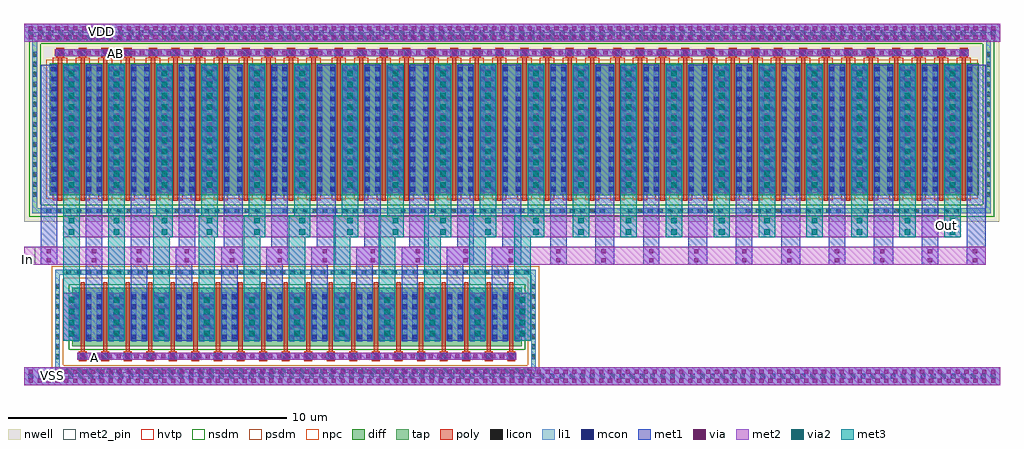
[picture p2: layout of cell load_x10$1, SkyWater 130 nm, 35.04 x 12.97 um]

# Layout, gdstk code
from math import pi, radians
import gdstk
lib = gdstk.Library(unit=1e-6, precision=1e-09)
def R(c, l, rs):  # rectangles x0, y0, x1, y1
    for r in rs: c.add(gdstk.rectangle(r[:2], r[2:], *l))
def A(c, l, x, y, w, h, nx, ny, dx, dy):  # array of equal rectangles
    R(c, l, [(x+i*dx, y+j*dy, x+i*dx+w, y+j*dy+h) for i in range(nx) for j in range(ny)])
nwell = (64, 20)
diff = (65, 20)
tap = (65, 44)
poly = (66, 20)
licon = (66, 44)
li1 = (67, 20)
mcon = (67, 44)
met1 = (68, 20)
via = (68, 44)
met2_pin = (69, 16)
met2 = (69, 20)
via2 = (69, 44)
met3 = (70, 20)
hvtp = (78, 44)
nsdm = (93, 44)
psdm = (94, 20)
npc = (95, 20)

pfet_5 = lib.new_cell('pfet$5')
R(pfet_5, nwell, [(-0.305,-0.38,1.055,5.47)])
R(pfet_5, diff, [(0,0,0.75,4.75)])
R(pfet_5, poly, [(0.3,-0.2,0.45,4.95), (0.24,4.95,0.51,5.28)])
A(pfet_5, licon, 0.065, 0.13, 0.17, 0.17, 1, 13, 0, 0.36)
A(pfet_5, licon, 0.515, 0.13, 0.17, 0.17, 1, 13, 0, 0.36)
R(pfet_5, licon, [(0.29,5.03,0.46,5.2)])
R(pfet_5, li1, [(0.065,0.05,0.235,4.7), (0.515,0.05,0.685,4.7), (0.21,5.03,0.54,5.2)])
A(pfet_5, mcon, 0.065, 0.13, 0.17, 0.17, 1, 13, 0, 0.36)
A(pfet_5, mcon, 0.515, 0.13, 0.17, 0.17, 1, 13, 0, 0.36)
R(pfet_5, mcon, [(0.29,5.03,0.46,5.2)])
R(pfet_5, met1, [(0.035,0.07,0.265,4.68), (0.485,0.07,0.715,4.68), (0.19,5,0.56,5.23)])
R(pfet_5, psdm, [(-0.125,-0.125,0.875,4.875)])
R(pfet_5, npc, [(0.23,4.94,0.52,5.29)])

pfet_4 = lib.new_cell('pfet$4')
R(pfet_4, nwell, [(-0.305,-0.38,1.055,5.47)])
R(pfet_4, diff, [(0,0,0.75,4.75)])
R(pfet_4, poly, [(0.3,-0.2,0.45,4.95), (0.24,4.95,0.51,5.28)])
A(pfet_4, licon, 0.065, 0.13, 0.17, 0.17, 1, 13, 0, 0.36)
A(pfet_4, licon, 0.515, 0.13, 0.17, 0.17, 1, 13, 0, 0.36)
R(pfet_4, licon, [(0.29,5.03,0.46,5.2)])
R(pfet_4, li1, [(0.065,0.05,0.235,4.7), (0.515,0.05,0.685,4.7), (0.21,5.03,0.54,5.2)])
A(pfet_4, mcon, 0.065, 0.13, 0.17, 0.17, 1, 13, 0, 0.36)
A(pfet_4, mcon, 0.515, 0.13, 0.17, 0.17, 1, 13, 0, 0.36)
R(pfet_4, mcon, [(0.29,5.03,0.46,5.2)])
R(pfet_4, met1, [(0.035,0.07,0.265,4.68), (0.485,0.07,0.715,4.68), (0.19,5,0.56,5.23)])
R(pfet_4, hvtp, [(0.12,-0.18,0.63,4.93)])
R(pfet_4, psdm, [(-0.125,-0.125,0.875,4.875)])
R(pfet_4, npc, [(0.23,4.94,0.52,5.29)])

vias_gen_25 = lib.new_cell('vias_gen$25')
R(vias_gen_25, met1, [(0,0,32.815,0.26)])
A(vias_gen_25, via, 0.17, 0.055, 0.15, 0.15, 102, 1, 0.32, 0)
R(vias_gen_25, met2, [(0,0,32.815,0.26)])

vias_gen_26 = lib.new_cell('vias_gen$26')
R(vias_gen_26, li1, [(0,0,35.04,0.64)])
A(vias_gen_26, mcon, 0.155, 0.235, 0.17, 0.17, 97, 1, 0.36, 0)
R(vias_gen_26, met1, [(0,0,35.04,0.64)])
A(vias_gen_26, via, 0.165, 0.085, 0.15, 0.15, 109, 2, 0.32, 0.32)
R(vias_gen_26, met2, [(0,0,35.04,0.64)])

vias_gen_27 = lib.new_cell('vias_gen$27')
R(vias_gen_27, met1, [(0,0,15.76,0.26)])
A(vias_gen_27, via, 0.125, 0.055, 0.15, 0.15, 49, 1, 0.32, 0)
R(vias_gen_27, met2, [(0,0,15.76,0.26)])

nfet_3 = lib.new_cell('nfet$3')
R(nfet_3, diff, [(0,0,0.75,2.1)])
R(nfet_3, poly, [(0.24,-0.53,0.51,-0.2), (0.3,-0.2,0.45,2.3)])
A(nfet_3, licon, 0.065, 0.245, 0.17, 0.17, 1, 5, 0, 0.36)
A(nfet_3, licon, 0.515, 0.245, 0.17, 0.17, 1, 5, 0, 0.36)
R(nfet_3, licon, [(0.29,-0.45,0.46,-0.28)])
R(nfet_3, li1, [(0.21,-0.45,0.54,-0.28), (0.065,0.165,0.235,1.935), (0.515,0.165,0.685,1.935)])
A(nfet_3, mcon, 0.065, 0.245, 0.17, 0.17, 1, 5, 0, 0.36)
A(nfet_3, mcon, 0.515, 0.245, 0.17, 0.17, 1, 5, 0, 0.36)
R(nfet_3, mcon, [(0.29,-0.45,0.46,-0.28)])
R(nfet_3, met1, [(0.19,-0.48,0.56,-0.25), (0.035,0.185,0.265,1.915), (0.485,0.185,0.715,1.915)])
R(nfet_3, nsdm, [(-0.125,-0.125,0.875,2.225)])
R(nfet_3, npc, [(0.23,-0.54,0.52,-0.19)])

vias_gen_23 = lib.new_cell('vias_gen$23')
R(vias_gen_23, met1, [(0,0,0.59,0.66)])
R(vias_gen_23, via, [(0.22,0.095,0.37,0.245), (0.22,0.415,0.37,0.565)])
R(vias_gen_23, met2, [(0,0,0.59,0.66)])

vias_gen_24 = lib.new_cell('vias_gen$24')
R(vias_gen_24, met1, [(0,0,4.61,0.59)])
A(vias_gen_24, via, 0.15, 0.22, 0.15, 0.15, 14, 1, 0.32, 0)
R(vias_gen_24, met2, [(0,0,4.61,0.59)])
A(vias_gen_24, via2, 0.205, 0.195, 0.2, 0.2, 11, 1, 0.4, 0)
R(vias_gen_24, met3, [(0,0,4.61,0.59)])

vias_gen_20 = lib.new_cell('vias_gen$20')
R(vias_gen_20, met1, [(0,0,1.73,0.59)])
A(vias_gen_20, via, 0.15, 0.22, 0.15, 0.15, 5, 1, 0.32, 0)
R(vias_gen_20, met2, [(0,0,1.73,0.59)])
A(vias_gen_20, via2, 0.165, 0.195, 0.2, 0.2, 4, 1, 0.4, 0)
R(vias_gen_20, met3, [(0,0,1.73,0.59)])

vias_gen_18 = lib.new_cell('vias_gen$18')
R(vias_gen_18, met2, [(0,0,0.59,0.8)])
R(vias_gen_18, via2, [(0.195,0.1,0.395,0.3), (0.195,0.5,0.395,0.7)])
R(vias_gen_18, met3, [(0,0,0.59,0.8)])

load_x10_1 = lib.new_cell('load_x10$1')
R(load_x10_1, nwell, [(4.425,0.735,8.965,7.715), (4.425,0.735,39.44,7.715), (38.96,0.735,39.44,7.715)])
A(load_x10_1, diff, 6.095, 1.68, 0.155, 4.75, 4, 1, 0.81, 0)
A(load_x10_1, diff, 9.43, 1.68, 0.155, 4.75, 4, 1, 0.81, 0)
A(load_x10_1, diff, 12.765, 1.68, 0.155, 4.75, 4, 1, 0.81, 0)
A(load_x10_1, diff, 16.1, 1.68, 0.155, 4.75, 4, 1, 0.81, 0)
A(load_x10_1, diff, 22.77, 1.68, 0.155, 4.75, 4, 1, 0.81, 0)
A(load_x10_1, diff, 26.105, 1.68, 0.155, 4.75, 4, 1, 0.81, 0)
A(load_x10_1, diff, 29.44, 1.68, 0.155, 4.75, 4, 1, 0.81, 0)
R(load_x10_1, diff, [(6.905,-3.735,6.965,-1.635), (7.715,-3.735,7.775,-1.635), (7.715,-3.735,7.775,-1.635), (8.525,-3.735,8.585,-1.635), (8.525,-3.735,8.585,-1.635), (9.335,-3.735,9.395,-1.635), (9.335,-3.735,9.395,-1.635), (10.145,-3.735,10.205,-1.635), (10.145,-3.735,10.205,-1.635), (10.955,-3.735,11.015,-1.635), (10.955,-3.735,11.015,-1.635), (11.765,-3.735,11.825,-1.635), (11.765,-3.735,11.825,-1.635), (12.575,-3.735,12.635,-1.635), (12.575,-3.735,12.635,-1.635), (13.385,-3.735,13.445,-1.635), (13.385,-3.735,13.445,-1.635), (14.195,-3.735,14.255,-1.635), (14.195,-3.735,14.255,-1.635), (15.005,-3.735,15.065,-1.635), (15.005,-3.735,15.065,-1.635), (15.815,-3.735,15.875,-1.635), (15.815,-3.735,15.875,-1.635), (16.625,-3.735,16.685,-1.635), (16.625,-3.735,16.685,-1.635), (17.435,-3.735,17.495,-1.635), (17.435,-3.735,17.495,-1.635), (18.245,-3.735,18.305,-1.635), (18.245,-3.735,18.305,-1.635), (19.055,-3.735,19.115,-1.635), (19.055,-3.735,19.115,-1.635), (19.055,-3.735,19.115,-1.635), (19.055,-3.735,19.115,-1.635), (19.865,-3.735,19.925,-1.635), (19.865,-3.735,19.925,-1.635), (19.865,-3.735,19.925,-1.635), (19.865,-3.735,19.925,-1.635), (20.675,-3.735,20.735,-1.635), (20.675,-3.735,20.735,-1.635), (20.675,-3.735,20.735,-1.635), (20.675,-3.735,20.735,-1.635), (21.485,-3.735,21.545,-1.635), (21.485,-3.735,21.545,-1.635), (21.485,-3.735,21.545,-1.635), (21.485,-3.735,21.545,-1.635), (18.53,1.68,18.685,6.43), (18.53,1.68,18.685,6.43), (18.53,1.68,18.685,6.43), (19.435,1.68,19.59,6.43), (19.435,1.68,19.59,6.43), (19.435,1.68,19.59,6.43), (19.435,1.68,19.59,6.43), (20.245,1.68,20.4,6.43), (20.245,1.68,20.4,6.43), (20.245,1.68,20.4,6.43), (20.245,1.68,20.4,6.43), (21.055,1.68,21.21,6.43), (21.055,1.68,21.21,6.43), (21.055,1.68,21.21,6.43), (21.055,1.68,21.21,6.43), (21.865,1.68,22.02,6.43), (21.865,1.68,22.02,6.43), (21.865,1.68,22.02,6.43), (21.865,1.68,22.02,6.43), (31.87,1.68,32.025,6.43), (31.87,1.68,32.025,6.43), (31.87,1.68,32.025,6.43), (32.775,1.68,32.93,6.43), (32.775,1.68,32.93,6.43), (32.775,1.68,32.93,6.43), (32.775,1.68,32.93,6.43), (33.585,1.68,33.74,6.43), (33.585,1.68,33.74,6.43), (33.585,1.68,33.74,6.43), (33.585,1.68,33.74,6.43), (34.395,1.68,34.55,6.43), (34.395,1.68,34.55,6.43), (34.395,1.68,34.55,6.43), (34.395,1.68,34.55,6.43), (35.205,1.68,35.36,6.43), (35.205,1.68,35.36,6.43), (35.205,1.68,35.36,6.43), (35.205,1.68,35.36,6.43), (35.205,1.68,35.36,6.43), (35.205,1.68,35.36,6.43), (35.205,1.68,35.36,6.43), (35.205,1.68,35.36,6.43), (36.11,1.68,36.265,6.43), (36.11,1.68,36.265,6.43), (36.11,1.68,36.265,6.43), (36.11,1.68,36.265,6.43), (36.92,1.68,37.075,6.43), (36.92,1.68,37.075,6.43), (36.92,1.68,37.075,6.43), (36.92,1.68,37.075,6.43), (37.73,1.68,37.885,6.43), (37.73,1.68,37.885,6.43), (37.73,1.68,37.885,6.43), (37.73,1.68,37.885,6.43), (38.54,1.68,38.695,6.43), (38.54,1.68,38.695,6.43), (38.54,1.68,38.695,6.43), (38.54,1.68,38.695,6.43)])
A(load_x10_1, tap, 5.71, -4.715, 2.45, 0.17, 4, 2, 2.2, 3.55)
A(load_x10_1, tap, 13.75, -4.715, 2.45, 0.17, 4, 2, 2.2, 3.55)
A(load_x10_1, tap, 4.73, 1.04, 4.24, 0.17, 4, 2, 4.24, 6.2)
A(load_x10_1, tap, 4.9, 1.04, 3.59, 0.17, 4, 2, 4.24, 6.2)
A(load_x10_1, tap, 21.36, 1.04, 4.24, 0.17, 4, 2, 4.24, 6.2)
A(load_x10_1, tap, 21.53, 1.04, 3.59, 0.17, 4, 2, 4.24, 6.2)
R(load_x10_1, tap, [(5.54,-4.715,5.71,-0.995), (5.71,-4.715,8.16,-4.545), (22.63,-4.715,22.8,-0.995), (4.73,1.04,4.9,7.24), (34.08,1.04,38.32,1.21), (34.25,1.04,37.84,1.21), (38.32,1.04,38.965,1.21), (38.965,1.04,39.135,7.24), (4.73,7.24,9.14,7.41), (34.08,7.24,38.32,7.41), (34.25,7.24,37.84,7.41), (38.32,7.24,38.965,7.41)])
A(load_x10_1, licon, 8.15, -4.715, 0.17, 0.17, 6, 2, 0.36, 3.55)
A(load_x10_1, licon, 10.35, -4.715, 0.17, 0.17, 6, 2, 0.36, 3.55)
A(load_x10_1, licon, 12.55, -4.715, 0.17, 0.17, 5, 2, 0.36, 3.55)
A(load_x10_1, licon, 14.35, -4.715, 0.17, 0.17, 5, 2, 0.36, 3.55)
A(load_x10_1, licon, 16.19, -4.715, 0.17, 0.17, 6, 2, 0.36, 3.55)
A(load_x10_1, licon, 18.39, -4.715, 0.17, 0.17, 6, 2, 0.36, 3.55)
A(load_x10_1, licon, 20.59, -4.715, 0.17, 0.17, 6, 2, 0.36, 3.55)
A(load_x10_1, licon, 5.54, -4.2, 0.17, 0.17, 1, 8, 0, 0.36)
A(load_x10_1, licon, 22.63, -4.2, 0.17, 0.17, 1, 8, 0, 0.36)
A(load_x10_1, licon, 5.95, -1.165, 0.17, 0.17, 6, 1, 0.36, 0)
A(load_x10_1, licon, 5.23, 1.04, 0.17, 0.17, 10, 1, 0.36, 0)
A(load_x10_1, licon, 9.47, 1.04, 0.17, 0.17, 10, 2, 0.36, 6.2)
A(load_x10_1, licon, 13.71, 1.04, 0.17, 0.17, 10, 2, 0.36, 6.2)
A(load_x10_1, licon, 17.95, 1.04, 0.17, 0.17, 10, 2, 0.36, 6.2)
A(load_x10_1, licon, 21.86, 1.04, 0.17, 0.17, 10, 2, 0.36, 6.2)
A(load_x10_1, licon, 26.1, 1.04, 0.17, 0.17, 10, 2, 0.36, 6.2)
A(load_x10_1, licon, 30.34, 1.04, 0.17, 0.17, 10, 2, 0.36, 6.2)
A(load_x10_1, licon, 4.73, 1.62, 0.17, 0.17, 1, 15, 0, 0.36)
A(load_x10_1, licon, 38.965, 1.62, 0.17, 0.17, 1, 15, 0, 0.36)
R(load_x10_1, licon, [(5.95,-4.715,6.12,-4.545), (5.95,-4.715,6.12,-4.545), (6.31,-4.715,6.48,-4.545), (6.31,-4.715,6.48,-4.545), (6.67,-4.715,6.84,-4.545), (6.67,-4.715,6.84,-4.545), (7.03,-4.715,7.2,-4.545), (7.03,-4.715,7.2,-4.545), (7.39,-4.715,7.56,-4.545), (7.39,-4.715,7.56,-4.545), (7.75,-4.715,7.92,-4.545), (7.75,-4.715,7.92,-4.545), (13.99,-4.715,14.16,-4.545), (14.35,-4.715,14.52,-4.545), (13.99,-1.165,14.16,-0.995), (14.35,-1.165,14.52,-0.995), (34.58,1.04,34.75,1.21), (34.58,1.04,34.75,1.21), (34.94,1.04,35.11,1.21), (34.94,1.04,35.11,1.21), (35.3,1.04,35.47,1.21), (35.3,1.04,35.47,1.21), (35.66,1.04,35.83,1.21), (35.66,1.04,35.83,1.21), (36.02,1.04,36.19,1.21), (36.02,1.04,36.19,1.21), (36.38,1.04,36.55,1.21), (36.38,1.04,36.55,1.21), (36.74,1.04,36.91,1.21), (36.74,1.04,36.91,1.21), (37.1,1.04,37.27,1.21), (37.1,1.04,37.27,1.21), (37.46,1.04,37.63,1.21), (37.46,1.04,37.63,1.21), (37.82,1.04,37.99,1.21), (37.82,1.04,37.99,1.21), (5.23,7.24,5.4,7.41), (5.23,7.24,5.4,7.41), (5.59,7.24,5.76,7.41), (5.59,7.24,5.76,7.41), (5.95,7.24,6.12,7.41), (5.95,7.24,6.12,7.41), (6.31,7.24,6.48,7.41), (6.31,7.24,6.48,7.41), (6.67,7.24,6.84,7.41), (6.67,7.24,6.84,7.41), (7.03,7.24,7.2,7.41), (7.03,7.24,7.2,7.41), (7.39,7.24,7.56,7.41), (7.39,7.24,7.56,7.41), (7.75,7.24,7.92,7.41), (7.75,7.24,7.92,7.41), (8.11,7.24,8.28,7.41), (8.11,7.24,8.28,7.41), (8.47,7.24,8.64,7.41), (8.47,7.24,8.64,7.41), (34.58,7.24,34.75,7.41), (34.58,7.24,34.75,7.41), (34.94,7.24,35.11,7.41), (34.94,7.24,35.11,7.41), (35.3,7.24,35.47,7.41), (35.3,7.24,35.47,7.41), (35.66,7.24,35.83,7.41), (35.66,7.24,35.83,7.41), (36.02,7.24,36.19,7.41), (36.02,7.24,36.19,7.41), (36.38,7.24,36.55,7.41), (36.38,7.24,36.55,7.41), (36.74,7.24,36.91,7.41), (36.74,7.24,36.91,7.41), (37.1,7.24,37.27,7.41), (37.1,7.24,37.27,7.41), (37.46,7.24,37.63,7.41), (37.46,7.24,37.63,7.41), (37.82,7.24,37.99,7.41), (37.82,7.24,37.99,7.41)])
A(load_x10_1, li1, 5.71, -4.715, 2.45, 0.17, 4, 2, 2.2, 3.55)
A(load_x10_1, li1, 13.75, -4.715, 2.45, 0.17, 4, 2, 2.2, 3.55)
A(load_x10_1, li1, 4.73, 1.04, 4.24, 0.17, 4, 2, 4.24, 6.2)
A(load_x10_1, li1, 21.36, 1.04, 4.24, 0.17, 4, 2, 4.24, 6.2)
R(load_x10_1, li1, [(5.54,-4.715,5.71,-0.995), (5.71,-4.715,8.16,-4.545), (22.63,-4.715,22.8,-0.995), (4.73,1.04,4.9,7.24), (34.08,1.04,38.32,1.21), (38.32,1.04,39.135,1.21), (38.965,1.04,39.135,7.24), (4.73,7.24,9.14,7.41), (34.08,7.24,38.32,7.41), (38.32,7.24,39.135,7.41)])
A(load_x10_1, met1, 8.26, -1.82, 0.59, 1.66, 9, 1, 1.62, 0)
A(load_x10_1, met1, 8.26, -0.82, 0.685, 2.57, 10, 1, 3.335, 0)
A(load_x10_1, met1, 18.265, -0.82, 0.455, 2.57, 7, 1, 3.335, 0)
A(load_x10_1, met1, 16.645, -0.16, 0.59, 1.91, 7, 1, 3.335, 0)
A(load_x10_1, met1, 6.06, 1.75, 0.13, 4.61, 3, 1, 0.81, 0)
A(load_x10_1, met1, 9.395, 1.75, 0.13, 4.61, 3, 1, 0.81, 0)
A(load_x10_1, met1, 12.73, 1.75, 0.13, 4.61, 3, 1, 0.81, 0)
A(load_x10_1, met1, 16.065, 1.75, 0.13, 4.61, 3, 1, 0.81, 0)
A(load_x10_1, met1, 22.735, 1.75, 0.13, 4.61, 3, 1, 0.81, 0)
A(load_x10_1, met1, 26.07, 1.75, 0.13, 4.61, 3, 1, 0.81, 0)
A(load_x10_1, met1, 29.405, 1.75, 0.13, 4.61, 3, 1, 0.81, 0)
R(load_x10_1, met1, [(6.345,-4.215,22.105,-3.985), (6.87,-3.55,7,-1.82), (8.49,-3.55,8.62,-1.82), (8.49,-3.55,8.62,-1.82), (10.11,-3.55,10.24,-1.82), (10.11,-3.55,10.24,-1.82), (11.73,-3.55,11.86,-1.82), (11.73,-3.55,11.86,-1.82), (13.35,-3.55,13.48,-1.82), (13.35,-3.55,13.48,-1.82), (14.97,-3.55,15.1,-1.82), (14.97,-3.55,15.1,-1.82), (16.59,-3.55,16.72,-1.82), (16.59,-3.55,16.72,-1.82), (18.21,-3.55,18.34,-1.82), (18.21,-3.55,18.34,-1.82), (19.83,-3.55,19.96,-1.82), (19.83,-3.55,19.96,-1.82), (19.83,-3.55,19.96,-1.82), (19.83,-3.55,19.96,-1.82), (21.45,-3.55,21.58,-1.82), (21.45,-3.55,21.58,-1.82), (21.45,-3.55,21.58,-1.82), (21.45,-3.55,21.58,-1.82), (6.64,-1.82,7.23,-0.16), (8.26,-1.82,8.85,-0.16), (5.02,-0.82,5.165,-0.16), (8.26,-0.82,8.715,1.75), (13.31,-0.82,13.765,1.75), (13.31,-0.82,13.9,1.75), (5.02,-0.16,5.61,1.75), (5.155,-0.16,5.61,1.75), (6.64,-0.16,7.23,1.75), (9.975,-0.16,10.565,1.75), (11.595,-0.16,12.185,1.75), (14.93,-0.16,15.52,1.75), (5.02,1.75,5.61,6.36), (5.155,1.75,5.61,6.36), (8.26,1.75,8.715,6.36), (8.49,1.75,8.945,6.36), (11.595,1.75,12.05,6.36), (11.825,1.75,12.28,6.36), (14.93,1.75,15.385,6.36), (15.16,1.75,15.615,6.36), (18.265,1.75,18.72,6.36), (18.495,1.75,18.95,6.36), (18.495,1.75,18.95,6.36), (18.495,1.75,18.95,6.36), (18.495,1.75,18.95,6.36), (19.4,1.75,19.53,6.36), (19.4,1.75,19.53,6.36), (19.4,1.75,19.53,6.36), (19.4,1.75,19.53,6.36), (20.21,1.75,20.34,6.36), (20.21,1.75,20.34,6.36), (20.21,1.75,20.34,6.36), (20.21,1.75,20.34,6.36), (21.02,1.75,21.15,6.36), (21.02,1.75,21.15,6.36), (21.02,1.75,21.15,6.36), (21.02,1.75,21.15,6.36), (21.6,1.75,22.055,6.36), (21.6,1.75,22.055,6.36), (21.6,1.75,22.055,6.36), (21.6,1.75,22.055,6.36), (21.83,1.75,22.285,6.36), (24.935,1.75,25.39,6.36), (25.165,1.75,25.62,6.36), (28.27,1.75,28.725,6.36), (28.5,1.75,28.955,6.36), (31.605,1.75,32.06,6.36), (31.835,1.75,32.29,6.36), (31.835,1.75,32.29,6.36), (31.835,1.75,32.29,6.36), (31.835,1.75,32.29,6.36), (32.74,1.75,32.87,6.36), (32.74,1.75,32.87,6.36), (32.74,1.75,32.87,6.36), (32.74,1.75,32.87,6.36), (33.55,1.75,33.68,6.36), (33.55,1.75,33.68,6.36), (33.55,1.75,33.68,6.36), (33.55,1.75,33.68,6.36), (34.36,1.75,34.49,6.36), (34.36,1.75,34.49,6.36), (34.36,1.75,34.49,6.36), (34.36,1.75,34.49,6.36), (34.94,1.75,35.395,6.36), (34.94,1.75,35.395,6.36), (34.94,1.75,35.395,6.36), (34.94,1.75,35.395,6.36), (34.94,1.75,35.395,6.36), (35.17,1.75,35.625,6.36), (35.17,1.75,35.625,6.36), (35.17,1.75,35.625,6.36), (35.17,1.75,35.625,6.36), (36.075,1.75,36.205,6.36), (36.075,1.75,36.205,6.36), (36.075,1.75,36.205,6.36), (36.075,1.75,36.205,6.36), (36.885,1.75,37.015,6.36), (36.885,1.75,37.015,6.36), (36.885,1.75,37.015,6.36), (36.885,1.75,37.015,6.36), (37.695,1.75,37.825,6.36), (37.695,1.75,37.825,6.36), (37.695,1.75,37.825,6.36), (37.695,1.75,37.825,6.36), (38.275,1.75,38.73,6.36), (38.275,1.75,38.73,6.36), (38.275,1.75,38.73,6.36), (38.275,1.75,38.73,6.36), (38.695,1.75,38.96,6.36), (5.535,6.68,38.35,6.91)])
R(load_x10_1, met2_pin, [(4.425,-5.135,39.465,-4.495), (6.345,-4.23,22.105,-3.97), (4.425,-0.82,4.835,-0.16), (37.47,0.17,38.06,0.97), (5.535,6.665,38.35,6.925), (4.425,7.195,39.465,7.835)])
R(load_x10_1, met2, [(4.425,-0.82,8.26,-0.16), (4.425,-0.82,38.96,-0.16), (5.83,0.17,9.445,0.97), (9.17,0.17,12.785,0.97), (12.5,0.17,16.115,0.97), (15.84,0.17,19.455,0.97), (19.17,0.17,22.785,0.97), (22.51,0.17,26.125,0.97), (25.84,0.17,29.455,0.97), (29.18,0.17,32.795,0.97), (32.51,0.17,36.125,0.97), (36.44,0.17,38.06,0.97)])
A(load_x10_1, met3, 7.45, -2.16, 0.59, 2.33, 4, 1, 3.24, 0)
A(load_x10_1, met3, 7.45, -1.875, 0.59, 2.845, 10, 1, 1.62, 0)
R(load_x10_1, met3, [(5.83,-2.16,6.42,0.17), (7.45,-2.16,8.04,0.17), (5.83,0.97,6.42,2.09), (7.45,0.97,8.04,2.09), (9.17,0.97,9.76,2.09), (9.17,0.97,9.76,2.09), (10.79,0.97,11.38,2.09), (10.79,0.97,11.38,2.09), (12.5,0.97,13.09,2.09), (14.12,0.97,14.71,2.09), (15.84,0.97,16.43,2.09), (15.84,0.97,16.43,2.09), (17.46,0.97,18.05,2.09), (17.46,0.97,18.05,2.09), (19.17,0.97,19.76,2.09), (20.79,0.97,21.38,2.09), (22.51,0.97,23.1,2.09), (22.51,0.97,23.1,2.09), (24.13,0.97,24.72,2.09), (24.13,0.97,24.72,2.09), (25.84,0.97,26.43,2.09), (27.46,0.97,28.05,2.09), (29.18,0.97,29.77,2.09), (29.18,0.97,29.77,2.09), (30.8,0.97,31.39,2.09), (30.8,0.97,31.39,2.09), (32.51,0.97,33.1,2.09), (34.13,0.97,34.72,2.09), (35.85,0.97,36.44,2.09), (35.85,0.97,36.44,2.09), (37.47,0.97,38.06,2.09), (37.47,0.97,38.06,2.09)])
A(load_x10_1, nsdm, 4.605, 0.915, 4.665, 0.42, 4, 2, 4.24, 6.2)
A(load_x10_1, nsdm, 21.235, 0.915, 4.665, 0.42, 4, 2, 4.24, 6.2)
R(load_x10_1, nsdm, [(33.955,0.915,38.62,1.335), (38.62,0.915,39.265,1.335), (4.605,1.335,5.025,7.115), (38.845,1.335,39.265,7.115), (4.605,7.115,9.27,7.535), (33.955,7.115,38.62,7.535), (38.62,7.115,39.265,7.535)])
A(load_x10_1, psdm, 5.835, -4.84, 2.2, 0.42, 4, 2, 2.2, 3.55)
A(load_x10_1, psdm, 13.875, -4.84, 2.2, 0.42, 4, 2, 2.2, 3.55)
R(load_x10_1, psdm, [(5.415,-4.84,5.835,-0.87), (5.835,-4.84,8.035,-4.42), (22.505,-4.84,22.925,-0.87)])
load_x10_1.add(gdstk.Reference(pfet_5, (21.865,1.68), rotation=pi, x_reflection=True))
load_x10_1.add(gdstk.Reference(pfet_5, (21.865,1.68), rotation=pi, x_reflection=True))
load_x10_1.add(gdstk.Reference(pfet_5, (21.865,1.68), rotation=pi, x_reflection=True))
load_x10_1.add(gdstk.Reference(pfet_4, (21.865,1.68), rotation=pi, x_reflection=True))
load_x10_1.add(gdstk.Reference(pfet_4, (25.2,1.68), rotation=pi, x_reflection=True))
load_x10_1.add(gdstk.Reference(pfet_4, (24.39,1.68), rotation=pi, x_reflection=True))
load_x10_1.add(gdstk.Reference(pfet_4, (23.58,1.68), rotation=pi, x_reflection=True))
load_x10_1.add(gdstk.Reference(pfet_4, (22.77,1.68), rotation=pi, x_reflection=True))
load_x10_1.add(gdstk.Reference(pfet_4, (28.535,1.68), rotation=pi, x_reflection=True))
load_x10_1.add(gdstk.Reference(pfet_4, (27.725,1.68), rotation=pi, x_reflection=True))
load_x10_1.add(gdstk.Reference(pfet_4, (26.915,1.68), rotation=pi, x_reflection=True))
load_x10_1.add(gdstk.Reference(pfet_4, (26.105,1.68), rotation=pi, x_reflection=True))
load_x10_1.add(gdstk.Reference(pfet_4, (31.87,1.68), rotation=pi, x_reflection=True))
load_x10_1.add(gdstk.Reference(pfet_4, (31.06,1.68), rotation=pi, x_reflection=True))
load_x10_1.add(gdstk.Reference(pfet_4, (30.25,1.68), rotation=pi, x_reflection=True))
load_x10_1.add(gdstk.Reference(pfet_4, (29.44,1.68), rotation=pi, x_reflection=True))
load_x10_1.add(gdstk.Reference(pfet_5, (35.205,1.68), rotation=pi, x_reflection=True))
load_x10_1.add(gdstk.Reference(pfet_5, (34.395,1.68), rotation=pi, x_reflection=True))
load_x10_1.add(gdstk.Reference(pfet_5, (33.585,1.68), rotation=pi, x_reflection=True))
load_x10_1.add(gdstk.Reference(pfet_4, (32.775,1.68), rotation=pi, x_reflection=True))
load_x10_1.add(gdstk.Reference(pfet_5, (33.585,1.68), rotation=pi, x_reflection=True))
load_x10_1.add(gdstk.Reference(pfet_5, (34.395,1.68), rotation=pi, x_reflection=True))
load_x10_1.add(gdstk.Reference(pfet_5, (35.205,1.68), rotation=pi, x_reflection=True))
load_x10_1.add(gdstk.Reference(pfet_5, (35.205,1.68), rotation=pi, x_reflection=True))
load_x10_1.add(gdstk.Reference(pfet_5, (34.395,1.68), rotation=pi, x_reflection=True))
load_x10_1.add(gdstk.Reference(pfet_5, (33.585,1.68), rotation=pi, x_reflection=True))
load_x10_1.add(gdstk.Reference(pfet_4, (33.585,1.68), rotation=pi, x_reflection=True))
load_x10_1.add(gdstk.Reference(pfet_4, (34.395,1.68), rotation=pi, x_reflection=True))
load_x10_1.add(gdstk.Reference(pfet_4, (35.205,1.68), rotation=pi, x_reflection=True))
load_x10_1.add(gdstk.Reference(pfet_5, (38.54,1.68), rotation=pi, x_reflection=True))
load_x10_1.add(gdstk.Reference(pfet_5, (37.73,1.68), rotation=pi, x_reflection=True))
load_x10_1.add(gdstk.Reference(pfet_5, (36.92,1.68), rotation=pi, x_reflection=True))
load_x10_1.add(gdstk.Reference(pfet_4, (36.11,1.68), rotation=pi, x_reflection=True))
load_x10_1.add(gdstk.Reference(pfet_5, (36.92,1.68), rotation=pi, x_reflection=True))
load_x10_1.add(gdstk.Reference(pfet_5, (37.73,1.68), rotation=pi, x_reflection=True))
load_x10_1.add(gdstk.Reference(pfet_5, (38.54,1.68), rotation=pi, x_reflection=True))
load_x10_1.add(gdstk.Reference(pfet_5, (38.54,1.68), rotation=pi, x_reflection=True))
load_x10_1.add(gdstk.Reference(pfet_5, (37.73,1.68), rotation=pi, x_reflection=True))
load_x10_1.add(gdstk.Reference(pfet_5, (36.92,1.68), rotation=pi, x_reflection=True))
load_x10_1.add(gdstk.Reference(pfet_4, (36.92,1.68), rotation=pi, x_reflection=True))
load_x10_1.add(gdstk.Reference(pfet_4, (37.73,1.68), rotation=pi, x_reflection=True))
load_x10_1.add(gdstk.Reference(pfet_4, (38.54,1.68), rotation=pi, x_reflection=True))
load_x10_1.add(gdstk.Reference(pfet_4, (7.715,1.68), rotation=pi, x_reflection=True))
load_x10_1.add(gdstk.Reference(pfet_5, (21.055,1.68), rotation=pi, x_reflection=True))
load_x10_1.add(gdstk.Reference(pfet_5, (20.245,1.68), rotation=pi, x_reflection=True))
load_x10_1.add(gdstk.Reference(pfet_4, (20.245,1.68), rotation=pi, x_reflection=True))
load_x10_1.add(gdstk.Reference(pfet_4, (21.055,1.68), rotation=pi, x_reflection=True))
load_x10_1.add(gdstk.Reference(pfet_4, (6.905,1.68), rotation=pi, x_reflection=True))
load_x10_1.add(gdstk.Reference(pfet_4, (6.095,1.68), rotation=pi, x_reflection=True))
load_x10_1.add(gdstk.Reference(vias_gen_25, (5.535,6.665)))
load_x10_1.add(gdstk.Reference(pfet_4, (11.86,1.68), rotation=pi, x_reflection=True))
load_x10_1.add(gdstk.Reference(pfet_4, (11.05,1.68), rotation=pi, x_reflection=True))
load_x10_1.add(gdstk.Reference(pfet_4, (10.24,1.68), rotation=pi, x_reflection=True))
load_x10_1.add(gdstk.Reference(pfet_4, (9.43,1.68), rotation=pi, x_reflection=True))
load_x10_1.add(gdstk.Reference(pfet_4, (15.195,1.68), rotation=pi, x_reflection=True))
load_x10_1.add(gdstk.Reference(pfet_4, (14.385,1.68), rotation=pi, x_reflection=True))
load_x10_1.add(gdstk.Reference(pfet_4, (13.575,1.68), rotation=pi, x_reflection=True))
load_x10_1.add(gdstk.Reference(pfet_4, (12.765,1.68), rotation=pi, x_reflection=True))
load_x10_1.add(gdstk.Reference(pfet_4, (18.53,1.68), rotation=pi, x_reflection=True))
load_x10_1.add(gdstk.Reference(pfet_4, (17.72,1.68), rotation=pi, x_reflection=True))
load_x10_1.add(gdstk.Reference(pfet_4, (16.91,1.68), rotation=pi, x_reflection=True))
load_x10_1.add(gdstk.Reference(pfet_4, (16.1,1.68), rotation=pi, x_reflection=True))
load_x10_1.add(gdstk.Reference(vias_gen_26, (4.425,7.195)))
load_x10_1.add(gdstk.Reference(pfet_5, (21.055,1.68), rotation=pi, x_reflection=True))
load_x10_1.add(gdstk.Reference(pfet_5, (20.245,1.68), rotation=pi, x_reflection=True))
load_x10_1.add(gdstk.Reference(pfet_4, (19.435,1.68), rotation=pi, x_reflection=True))
load_x10_1.add(gdstk.Reference(pfet_5, (20.245,1.68), rotation=pi, x_reflection=True))
load_x10_1.add(gdstk.Reference(pfet_5, (21.055,1.68), rotation=pi, x_reflection=True))
load_x10_1.add(gdstk.Reference(pfet_4, (8.525,1.68), rotation=pi, x_reflection=True))
load_x10_1.add(gdstk.Reference(vias_gen_27, (6.345,-4.23)))
load_x10_1.add(gdstk.Reference(vias_gen_26, (4.425,-5.135)))
load_x10_1.add(gdstk.Reference(nfet_3, (22.295,-3.735), rotation=pi, x_reflection=True))
load_x10_1.add(gdstk.Reference(vias_gen_23, (21.6,-0.82)))
load_x10_1.add(gdstk.Reference(nfet_3, (22.295,-3.735), rotation=pi, x_reflection=True))
load_x10_1.add(gdstk.Reference(nfet_3, (22.295,-3.735), rotation=pi, x_reflection=True))
load_x10_1.add(gdstk.Reference(nfet_3, (22.295,-3.735), rotation=pi, x_reflection=True))
load_x10_1.add(gdstk.Reference(vias_gen_24, (38.06,1.75), rotation=pi/2))
load_x10_1.add(gdstk.Reference(vias_gen_24, (36.44,1.75), rotation=pi/2))
load_x10_1.add(gdstk.Reference(vias_gen_24, (23.1,1.75), rotation=pi/2))
load_x10_1.add(gdstk.Reference(vias_gen_24, (24.72,1.75), rotation=pi/2))
load_x10_1.add(gdstk.Reference(vias_gen_24, (28.05,1.75), rotation=pi/2))
load_x10_1.add(gdstk.Reference(vias_gen_24, (31.39,1.75), rotation=pi/2))
load_x10_1.add(gdstk.Reference(vias_gen_24, (33.1,1.75), rotation=pi/2))
load_x10_1.add(gdstk.Reference(vias_gen_24, (29.77,1.75), rotation=pi/2))
load_x10_1.add(gdstk.Reference(vias_gen_24, (26.43,1.75), rotation=pi/2))
load_x10_1.add(gdstk.Reference(vias_gen_24, (34.72,1.75), rotation=pi/2))
load_x10_1.add(gdstk.Reference(vias_gen_24, (19.76,1.75), rotation=pi/2))
load_x10_1.add(gdstk.Reference(vias_gen_24, (21.38,1.75), rotation=pi/2))
load_x10_1.add(gdstk.Reference(vias_gen_24, (18.05,1.75), rotation=pi/2))
load_x10_1.add(gdstk.Reference(vias_gen_24, (16.43,1.75), rotation=pi/2))
load_x10_1.add(gdstk.Reference(vias_gen_24, (11.38,1.75), rotation=pi/2))
load_x10_1.add(gdstk.Reference(vias_gen_24, (8.04,1.75), rotation=pi/2))
load_x10_1.add(gdstk.Reference(vias_gen_24, (9.76,1.75), rotation=pi/2))
load_x10_1.add(gdstk.Reference(vias_gen_24, (14.71,1.75), rotation=pi/2))
load_x10_1.add(gdstk.Reference(vias_gen_24, (6.42,1.75), rotation=pi/2))
load_x10_1.add(gdstk.Reference(vias_gen_24, (13.09,1.75), rotation=pi/2))
load_x10_1.add(gdstk.Reference(vias_gen_20, (11.28,-3.55), rotation=pi/2))
load_x10_1.add(gdstk.Reference(vias_gen_20, (12.9,-3.55), rotation=pi/2))
load_x10_1.add(gdstk.Reference(vias_gen_20, (11.28,-3.55), rotation=pi/2))
load_x10_1.add(gdstk.Reference(nfet_3, (12.575,-3.735), rotation=pi, x_reflection=True))
load_x10_1.add(gdstk.Reference(nfet_3, (11.765,-3.735), rotation=pi, x_reflection=True))
load_x10_1.add(gdstk.Reference(vias_gen_20, (12.9,-3.55), rotation=pi/2))
load_x10_1.add(gdstk.Reference(vias_gen_20, (11.28,-3.55), rotation=pi/2))
load_x10_1.add(gdstk.Reference(vias_gen_20, (12.9,-3.55), rotation=pi/2))
load_x10_1.add(gdstk.Reference(nfet_3, (7.715,-3.735), rotation=pi, x_reflection=True))
load_x10_1.add(gdstk.Reference(nfet_3, (8.525,-3.735), rotation=pi, x_reflection=True))
load_x10_1.add(gdstk.Reference(vias_gen_20, (9.66,-3.55), rotation=pi/2))
load_x10_1.add(gdstk.Reference(nfet_3, (6.905,-3.735), rotation=pi, x_reflection=True))
load_x10_1.add(gdstk.Reference(vias_gen_20, (8.04,-3.55), rotation=pi/2))
load_x10_1.add(gdstk.Reference(nfet_3, (10.955,-3.735), rotation=pi, x_reflection=True))
load_x10_1.add(gdstk.Reference(nfet_3, (9.335,-3.735), rotation=pi, x_reflection=True))
load_x10_1.add(gdstk.Reference(vias_gen_20, (6.42,-3.55), rotation=pi/2))
load_x10_1.add(gdstk.Reference(vias_gen_20, (8.04,-3.55), rotation=pi/2))
load_x10_1.add(gdstk.Reference(nfet_3, (10.145,-3.735), rotation=pi, x_reflection=True))
load_x10_1.add(gdstk.Reference(vias_gen_20, (11.28,-3.55), rotation=pi/2))
load_x10_1.add(gdstk.Reference(vias_gen_20, (9.66,-3.55), rotation=pi/2))
load_x10_1.add(gdstk.Reference(vias_gen_20, (8.04,-3.55), rotation=pi/2))
load_x10_1.add(gdstk.Reference(nfet_3, (9.335,-3.735), rotation=pi, x_reflection=True))
load_x10_1.add(gdstk.Reference(nfet_3, (8.525,-3.735), rotation=pi, x_reflection=True))
load_x10_1.add(gdstk.Reference(vias_gen_20, (9.66,-3.55), rotation=pi/2))
load_x10_1.add(gdstk.Reference(vias_gen_20, (8.04,-3.55), rotation=pi/2))
load_x10_1.add(gdstk.Reference(nfet_3, (10.955,-3.735), rotation=pi, x_reflection=True))
load_x10_1.add(gdstk.Reference(nfet_3, (10.145,-3.735), rotation=pi, x_reflection=True))
load_x10_1.add(gdstk.Reference(vias_gen_20, (11.28,-3.55), rotation=pi/2))
load_x10_1.add(gdstk.Reference(vias_gen_20, (9.66,-3.55), rotation=pi/2))
load_x10_1.add(gdstk.Reference(vias_gen_20, (11.28,-3.55), rotation=pi/2))
load_x10_1.add(gdstk.Reference(nfet_3, (12.575,-3.735), rotation=pi, x_reflection=True))
load_x10_1.add(gdstk.Reference(nfet_3, (11.765,-3.735), rotation=pi, x_reflection=True))
load_x10_1.add(gdstk.Reference(vias_gen_20, (12.9,-3.55), rotation=pi/2))
load_x10_1.add(gdstk.Reference(vias_gen_20, (19.38,-3.55), rotation=pi/2))
load_x10_1.add(gdstk.Reference(vias_gen_20, (17.76,-3.55), rotation=pi/2))
load_x10_1.add(gdstk.Reference(nfet_3, (20.675,-3.735), rotation=pi, x_reflection=True))
load_x10_1.add(gdstk.Reference(nfet_3, (19.865,-3.735), rotation=pi, x_reflection=True))
load_x10_1.add(gdstk.Reference(vias_gen_20, (21,-3.55), rotation=pi/2))
load_x10_1.add(gdstk.Reference(vias_gen_20, (19.38,-3.55), rotation=pi/2))
load_x10_1.add(gdstk.Reference(vias_gen_20, (17.76,-3.55), rotation=pi/2))
load_x10_1.add(gdstk.Reference(nfet_3, (19.055,-3.735), rotation=pi, x_reflection=True))
load_x10_1.add(gdstk.Reference(nfet_3, (18.245,-3.735), rotation=pi, x_reflection=True))
load_x10_1.add(gdstk.Reference(vias_gen_20, (19.38,-3.55), rotation=pi/2))
load_x10_1.add(gdstk.Reference(vias_gen_20, (17.76,-3.55), rotation=pi/2))
load_x10_1.add(gdstk.Reference(nfet_3, (20.675,-3.735), rotation=pi, x_reflection=True))
load_x10_1.add(gdstk.Reference(nfet_3, (19.865,-3.735), rotation=pi, x_reflection=True))
load_x10_1.add(gdstk.Reference(vias_gen_20, (21,-3.55), rotation=pi/2))
load_x10_1.add(gdstk.Reference(vias_gen_20, (19.38,-3.55), rotation=pi/2))
load_x10_1.add(gdstk.Reference(nfet_3, (20.675,-3.735), rotation=pi, x_reflection=True))
load_x10_1.add(gdstk.Reference(nfet_3, (19.865,-3.735), rotation=pi, x_reflection=True))
load_x10_1.add(gdstk.Reference(vias_gen_20, (21,-3.55), rotation=pi/2))
load_x10_1.add(gdstk.Reference(nfet_3, (20.675,-3.735), rotation=pi, x_reflection=True))
load_x10_1.add(gdstk.Reference(nfet_3, (19.865,-3.735), rotation=pi, x_reflection=True))
load_x10_1.add(gdstk.Reference(vias_gen_20, (21,-3.55), rotation=pi/2))
load_x10_1.add(gdstk.Reference(vias_gen_20, (21,-3.55), rotation=pi/2))
load_x10_1.add(gdstk.Reference(nfet_3, (13.385,-3.735), rotation=pi, x_reflection=True))
load_x10_1.add(gdstk.Reference(vias_gen_20, (21,-3.55), rotation=pi/2))
load_x10_1.add(gdstk.Reference(vias_gen_20, (21,-3.55), rotation=pi/2))
load_x10_1.add(gdstk.Reference(vias_gen_20, (14.52,-3.55), rotation=pi/2))
load_x10_1.add(gdstk.Reference(vias_gen_20, (21,-3.55), rotation=pi/2))
load_x10_1.add(gdstk.Reference(nfet_3, (14.195,-3.735), rotation=pi, x_reflection=True))
load_x10_1.add(gdstk.Reference(nfet_3, (13.385,-3.735), rotation=pi, x_reflection=True))
load_x10_1.add(gdstk.Reference(vias_gen_20, (14.52,-3.55), rotation=pi/2))
load_x10_1.add(gdstk.Reference(nfet_3, (14.195,-3.735), rotation=pi, x_reflection=True))
load_x10_1.add(gdstk.Reference(vias_gen_20, (14.52,-3.55), rotation=pi/2))
load_x10_1.add(gdstk.Reference(nfet_3, (15.815,-3.735), rotation=pi, x_reflection=True))
load_x10_1.add(gdstk.Reference(nfet_3, (15.005,-3.735), rotation=pi, x_reflection=True))
load_x10_1.add(gdstk.Reference(vias_gen_20, (16.14,-3.55), rotation=pi/2))
load_x10_1.add(gdstk.Reference(vias_gen_20, (14.52,-3.55), rotation=pi/2))
load_x10_1.add(gdstk.Reference(nfet_3, (17.435,-3.735), rotation=pi, x_reflection=True))
load_x10_1.add(gdstk.Reference(nfet_3, (16.625,-3.735), rotation=pi, x_reflection=True))
load_x10_1.add(gdstk.Reference(vias_gen_20, (17.76,-3.55), rotation=pi/2))
load_x10_1.add(gdstk.Reference(vias_gen_20, (16.14,-3.55), rotation=pi/2))
load_x10_1.add(gdstk.Reference(vias_gen_20, (14.52,-3.55), rotation=pi/2))
load_x10_1.add(gdstk.Reference(nfet_3, (15.815,-3.735), rotation=pi, x_reflection=True))
load_x10_1.add(gdstk.Reference(nfet_3, (15.005,-3.735), rotation=pi, x_reflection=True))
load_x10_1.add(gdstk.Reference(vias_gen_20, (16.14,-3.55), rotation=pi/2))
load_x10_1.add(gdstk.Reference(vias_gen_20, (14.52,-3.55), rotation=pi/2))
load_x10_1.add(gdstk.Reference(nfet_3, (17.435,-3.735), rotation=pi, x_reflection=True))
load_x10_1.add(gdstk.Reference(nfet_3, (16.625,-3.735), rotation=pi, x_reflection=True))
load_x10_1.add(gdstk.Reference(vias_gen_20, (17.76,-3.55), rotation=pi/2))
load_x10_1.add(gdstk.Reference(vias_gen_20, (16.14,-3.55), rotation=pi/2))
load_x10_1.add(gdstk.Reference(vias_gen_20, (17.76,-3.55), rotation=pi/2))
load_x10_1.add(gdstk.Reference(nfet_3, (19.055,-3.735), rotation=pi, x_reflection=True))
load_x10_1.add(gdstk.Reference(nfet_3, (18.245,-3.735), rotation=pi, x_reflection=True))
load_x10_1.add(gdstk.Reference(nfet_3, (21.485,-3.735), rotation=pi, x_reflection=True))
load_x10_1.add(gdstk.Reference(nfet_3, (21.485,-3.735), rotation=pi, x_reflection=True))
load_x10_1.add(gdstk.Reference(nfet_3, (21.485,-3.735), rotation=pi, x_reflection=True))
load_x10_1.add(gdstk.Reference(nfet_3, (21.485,-3.735), rotation=pi, x_reflection=True))
load_x10_1.add(gdstk.Reference(vias_gen_18, (15.84,0.17)))
load_x10_1.add(gdstk.Reference(vias_gen_18, (15.84,0.17)))
load_x10_1.add(gdstk.Reference(vias_gen_18, (17.46,0.17)))
load_x10_1.add(gdstk.Reference(vias_gen_23, (19.98,-0.82)))
load_x10_1.add(gdstk.Reference(vias_gen_18, (19.17,0.17)))
load_x10_1.add(gdstk.Reference(vias_gen_18, (17.46,0.17)))
load_x10_1.add(gdstk.Reference(vias_gen_18, (14.12,0.17)))
load_x10_1.add(gdstk.Reference(vias_gen_18, (20.79,0.17)))
load_x10_1.add(gdstk.Reference(vias_gen_23, (18.265,-0.82)))
load_x10_1.add(gdstk.Reference(vias_gen_23, (16.645,-0.82)))
load_x10_1.add(gdstk.Reference(vias_gen_23, (13.31,-0.82)))
load_x10_1.add(gdstk.Reference(vias_gen_23, (14.93,-0.82)))
load_x10_1.add(gdstk.Reference(vias_gen_23, (8.26,-0.82)))
load_x10_1.add(gdstk.Reference(vias_gen_18, (5.83,0.17)))
load_x10_1.add(gdstk.Reference(vias_gen_18, (9.17,0.17)))
load_x10_1.add(gdstk.Reference(vias_gen_18, (10.79,0.17)))
load_x10_1.add(gdstk.Reference(vias_gen_23, (5.02,-0.82)))
load_x10_1.add(gdstk.Reference(vias_gen_23, (11.595,-0.82)))
load_x10_1.add(gdstk.Reference(vias_gen_23, (9.975,-0.82)))
load_x10_1.add(gdstk.Reference(vias_gen_18, (9.17,0.17)))
load_x10_1.add(gdstk.Reference(vias_gen_23, (6.64,-0.82)))
load_x10_1.add(gdstk.Reference(vias_gen_18, (10.79,0.17)))
load_x10_1.add(gdstk.Reference(vias_gen_18, (12.5,0.17)))
load_x10_1.add(gdstk.Reference(vias_gen_18, (7.45,0.17)))
load_x10_1.add(gdstk.Reference(vias_gen_23, (36.655,-0.82)))
load_x10_1.add(gdstk.Reference(vias_gen_18, (29.18,0.17)))
load_x10_1.add(gdstk.Reference(vias_gen_18, (30.8,0.17)))
load_x10_1.add(gdstk.Reference(vias_gen_18, (32.51,0.17)))
load_x10_1.add(gdstk.Reference(vias_gen_18, (34.13,0.17)))
load_x10_1.add(gdstk.Reference(vias_gen_18, (35.85,0.17)))
load_x10_1.add(gdstk.Reference(vias_gen_18, (37.47,0.17)))
load_x10_1.add(gdstk.Reference(vias_gen_18, (35.85,0.17)))
load_x10_1.add(gdstk.Reference(vias_gen_18, (37.47,0.17)))
load_x10_1.add(gdstk.Reference(vias_gen_18, (22.51,0.17)))
load_x10_1.add(gdstk.Reference(vias_gen_18, (24.13,0.17)))
load_x10_1.add(gdstk.Reference(vias_gen_18, (22.51,0.17)))
load_x10_1.add(gdstk.Reference(vias_gen_18, (24.13,0.17)))
load_x10_1.add(gdstk.Reference(vias_gen_18, (25.84,0.17)))
load_x10_1.add(gdstk.Reference(vias_gen_18, (27.46,0.17)))
load_x10_1.add(gdstk.Reference(vias_gen_18, (29.18,0.17)))
load_x10_1.add(gdstk.Reference(vias_gen_18, (30.8,0.17)))
load_x10_1.add(gdstk.Reference(vias_gen_20, (22.62,-3.55), rotation=pi/2))
load_x10_1.add(gdstk.Reference(vias_gen_23, (24.935,-0.82)))
load_x10_1.add(gdstk.Reference(vias_gen_23, (23.315,-0.82)))
load_x10_1.add(gdstk.Reference(vias_gen_23, (28.27,-0.82)))
load_x10_1.add(gdstk.Reference(vias_gen_23, (26.65,-0.82)))
load_x10_1.add(gdstk.Reference(vias_gen_20, (22.62,-3.55), rotation=pi/2))
load_x10_1.add(gdstk.Reference(vias_gen_23, (31.605,-0.82)))
load_x10_1.add(gdstk.Reference(vias_gen_23, (29.985,-0.82)))
load_x10_1.add(gdstk.Reference(vias_gen_23, (34.94,-0.82)))
load_x10_1.add(gdstk.Reference(vias_gen_20, (22.62,-3.55), rotation=pi/2))
load_x10_1.add(gdstk.Reference(vias_gen_23, (33.32,-0.82)))
load_x10_1.add(gdstk.Reference(vias_gen_23, (38.275,-0.82)))
load_x10_1.add(gdstk.Reference(vias_gen_20, (22.62,-3.55), rotation=pi/2))
load_x10_1.add(gdstk.Label('Out', (37.55,0.58), layer=69, texttype=5))
load_x10_1.add(gdstk.Label('VDD', (7.225,7.57), layer=69, texttype=5))
load_x10_1.add(gdstk.Label('AB', (7.715,6.775), layer=69, texttype=5))
load_x10_1.add(gdstk.Label('In', (4.535,-0.635), layer=69, texttype=5))
load_x10_1.add(gdstk.Label('A', (6.95,-4.14), layer=69, texttype=5))
load_x10_1.add(gdstk.Label('VSS', (5.455,-4.8), layer=69, texttype=5))

lib.write_gds('load_x10_1.gds')
